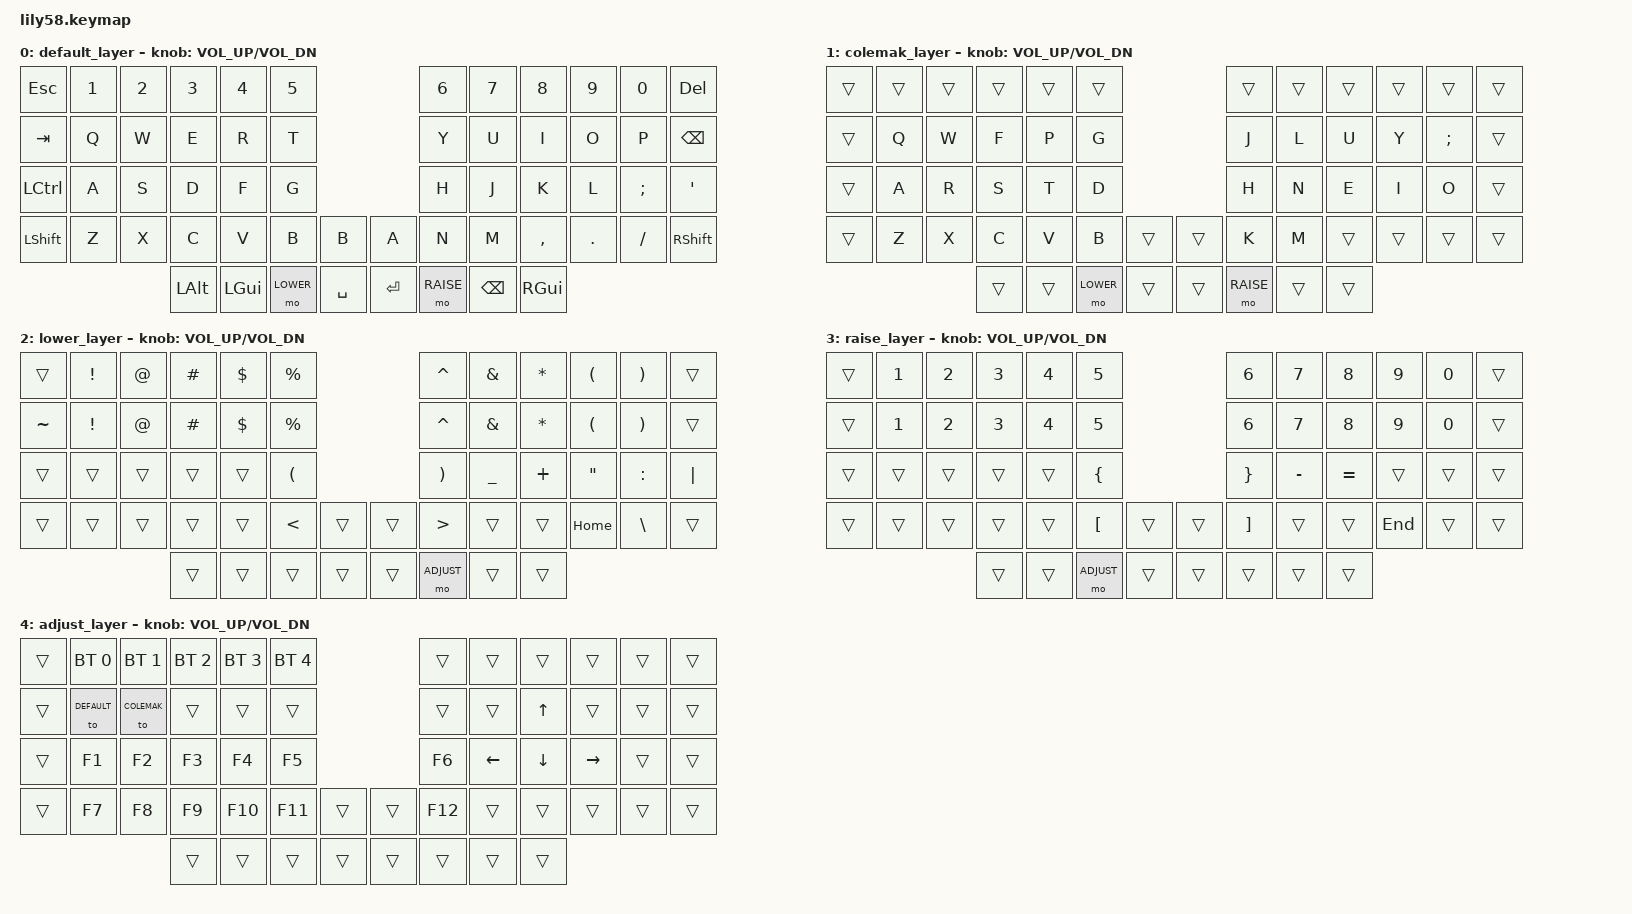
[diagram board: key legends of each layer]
/*
 * Copyright (c) 2020 The ZMK Contributors
 *
 * SPDX-License-Identifier: MIT
 * ai Doge keymap :
 */

#include <behaviors.dtsi>
#include <dt-bindings/zmk/keys.h>
#include <dt-bindings/zmk/bt.h>
#include <dt-bindings/zmk/ext_power.h>
#include <dt-bindings/zmk/mouse.h>

#define DEFAULT 0
#define COLEMAK 1
#define LOWER 2
#define RAISE 3
#define ADJUST 4

/ {
	keymap {
		compatible = "zmk,keymap";

		default_layer {
			bindings = <
&kp ESC   &kp N1 &kp N2 &kp N3   &kp N4   &kp N5                         	 &kp N6 	&kp N7   &kp N8    &kp N9  &kp N0   &kp DEL
&kp TAB   &kp Q  &kp W  &kp E    &kp R    &kp T                           	 &kp Y  	&kp U    &kp I     &kp O   &kp P    &kp BSPC
&kp LCTRL &kp A  &kp S  &kp D    &kp F    &kp G                           	 &kp H  	&kp J    &kp K     &kp L   &kp SEMI &kp SQT
&kp LSHFT &kp Z  &kp X  &kp C    &kp V    &kp B  	 &kp B          &kp A    &kp N  	&kp M    &kp COMMA &kp DOT &kp FSLH &kp RSHFT
                        &kp LALT &kp LGUI &mo LOWER  &kp SPACE  	&kp RET  &mo RAISE  &kp BSPC &kp RGUI
			>;

			sensor-bindings = <&inc_dec_kp C_VOL_UP C_VOL_DN>;
		};

		colemak_layer {
			bindings = <
&trans    &trans &trans &trans   &trans   &trans                     		 &trans 	&trans   &trans    &trans  &trans   &trans
&trans    &kp Q  &kp W  &kp F    &kp P    &kp G                      		 &kp J  	&kp L    &kp U     &kp Y   &kp SEMI &trans
&trans 	  &kp A  &kp R  &kp S    &kp T    &kp D                      		 &kp H  	&kp N    &kp E     &kp I   &kp O    &trans
&trans 	  &kp Z  &kp X  &kp C    &kp V    &kp B  	&trans   		&trans   &kp K  	&kp M    &trans    &trans  &trans   &trans
                        &trans   &trans   &mo LOWER &trans  		&trans   &mo RAISE	&trans	 &trans
			>;

			sensor-bindings = <&inc_dec_kp C_VOL_UP C_VOL_DN>;
		};

		lower_layer {
			bindings = <
&trans      &kp EXCL  &kp AT   &kp HASH   &kp DLLR   &kp PRCNT                              &kp CARET   &kp AMPS   &kp ASTRK   &kp LPAR   &kp RPAR   &trans
&kp TILDE   &kp EXCL  &kp AT   &kp HASH   &kp DLLR   &kp PRCNT                              &kp CARET   &kp AMPS   &kp ASTRK   &kp LPAR   &kp RPAR   &trans
&trans      &trans    &trans   &trans     &trans     &kp LPAR                               &kp RPAR    &kp UNDER  &kp PLUS    &kp DQT    &kp COLON  &kp PIPE
&trans      &trans    &trans   &trans     &trans     &kp LT   &trans               &trans   &kp GT      &trans	   &trans      &kp HOME   &kp BSLH   &trans
                               &trans     &trans     &trans   &trans               &trans   &mo ADJUST  &trans     &trans
			>;

			sensor-bindings = <&inc_dec_kp C_VOL_UP C_VOL_DN>;
		};

		raise_layer {
			bindings = <
&trans  &kp N1  &kp N2  &kp N3  &kp N4  &kp N5                          &kp N6    &kp N7  	&kp N8  	&kp N9  &kp N0  &trans
&trans  &kp N1  &kp N2  &kp N3  &kp N4  &kp N5                          &kp N6    &kp N7  	&kp N8  	&kp N9  &kp N0  &trans
&trans  &trans  &trans  &trans  &trans  &kp LBRC                        &kp RBRC  &kp MINUS	&kp EQUAL	&trans  &trans  &trans
&trans  &trans  &trans  &trans  &trans  &kp LBKT    &trans      &trans  &kp RBKT  &trans  	&trans  	&kp END &trans  &trans
                        &trans  &trans  &mo ADJUST  &trans      &trans  &trans    &trans  	&trans
			>;

			sensor-bindings = <&inc_dec_kp C_VOL_UP C_VOL_DN>;
		};
	
		adjust_layer {
			bindings = <
&trans  &bt BT_SEL 0  &bt BT_SEL 1  &bt BT_SEL 2  &bt BT_SEL 3  &bt BT_SEL 4                      &trans  &trans  &trans  &trans  &trans  &trans
&trans  &to DEFAULT   &to COLEMAK   &trans        &trans        &trans                            &trans  &trans  	&kp UP  	&trans  	&trans  &trans
&trans  &kp F1        &kp F2        &kp F3        &kp F4        &kp F5                            &kp F6  &kp LEFT	&kp DOWN	&kp RIGHT  	&trans  &trans
&trans  &kp F7        &kp F8        &kp F9        &kp F10       &kp F11       &trans      &trans  &kp F12 &trans  	&trans  	&trans  	&trans  &trans
                                    &trans        &trans        &trans        &trans      &trans  &trans  &trans  	&trans
			>;

			sensor-bindings = <&inc_dec_kp C_VOL_UP C_VOL_DN>;
		};
	};
};
